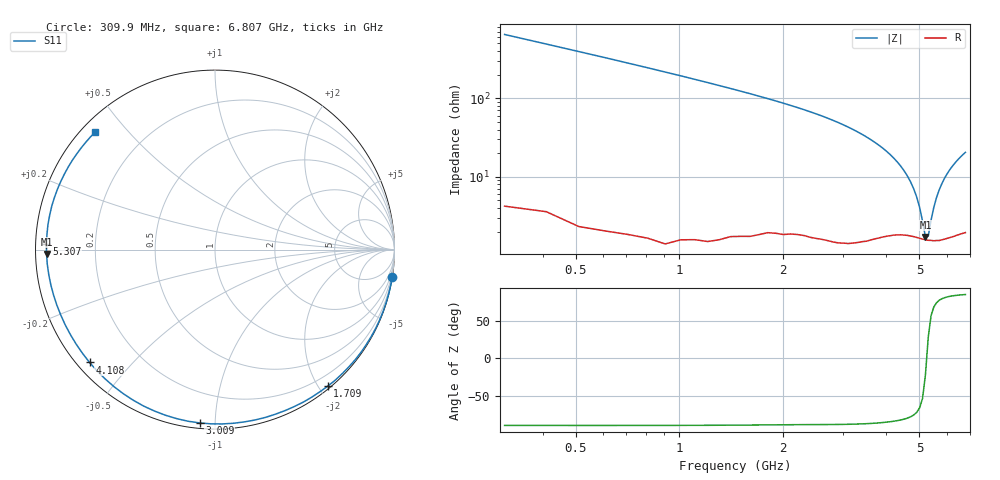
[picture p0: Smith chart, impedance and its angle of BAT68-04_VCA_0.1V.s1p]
! Infineon Technologies  Discrete & RF Semiconductors
! BAT68-04
! VCA = 0.1 V
! One-Port S-Parameters
# Hz  S  MA  R  50
!f  S11
!Hz  Mag  Ang
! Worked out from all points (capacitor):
!   66 points, 309.9 MHz to 6.807 GHz, reference 50 ohm
!   read as one part to ground: C = 786 fF near 309.9 MHz
!   lowest |Z| = 1.7 ohm at 5.207 GHz (marker M1)
!   series resonance near 5.251 GHz, so ESL is about 1.2 nH
!   S11 on the Smith chart (normalised r, x): 309.9 MHz: 0, -13; 1.709 GHz: 0.04, -2.12; 3.009 GHz: 0.03, -0.91; 4.108 GHz: 0.04, -0.38; 5.307 GHz: 0.03, +0.02; 6.807 GHz: 0.04, +0.41
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3.0985e8  0.999 -8.8
6.097e8  0.9982 -17.3
8.096e8  0.9974 -23.1
1.0095e9  0.9961 -29.0
1.2094e9  0.9946 -35.0
1.50925e9  0.9902 -44.2
1.70915e9  0.9868 -50.5
2.009e9  0.9818 -60.0
2.4088e9  0.9762 -73.4
2.6087e9  0.9739 -80.3
2.8086e9  0.9722 -87.6
3.0085e9  0.9694 -95.1
3.10845e9  0.968 -99.0
3.30835e9  0.9633 -106.7
3.6082e9  0.9548 -118.5
3.8081e9  0.9485 -126.4
4.10795e9  0.9401 -138.0
4.4078e9  0.9345 -149.5
4.6077e9  0.9335 -157.0
4.8076e9  0.9344 -164.3
5.0075e9  0.9366 -171.5
5.2074e9  0.9388 -178.5
5.30735e9  0.94 178.1
5.50725e9  0.941 171.4
5.70715e9  0.9413 165.0
6.007e9  0.9394 156.1
6.4068e9  0.9368 145.3
6.8066e9  0.9355 135.6
